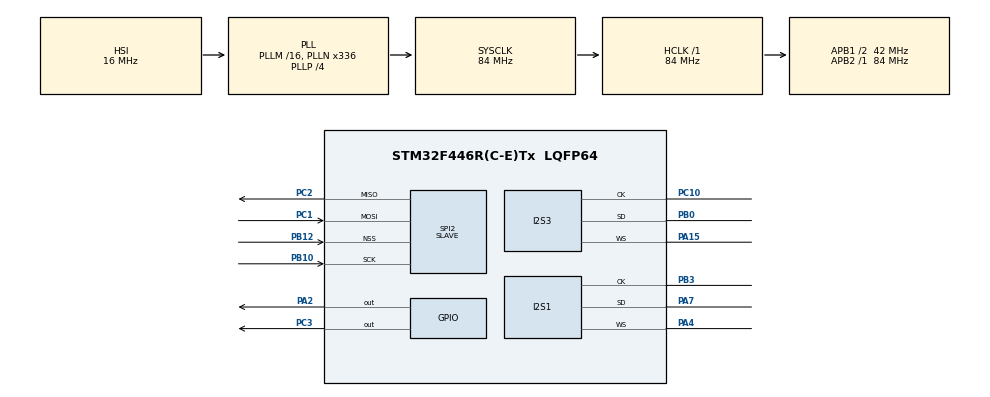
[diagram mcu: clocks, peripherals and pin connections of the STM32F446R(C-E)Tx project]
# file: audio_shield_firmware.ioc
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Dma.Request0=SPI3_RX
Dma.Request1=SPI1_RX
Dma.Request2=SPI2_RX
Dma.Request3=SPI2_TX
Dma.SPI1_RX.1.Direction=DMA_PERIPH_TO_MEMORY
Dma.SPI1_RX.1.FIFOMode=DMA_FIFOMODE_DISABLE
Dma.SPI1_RX.1.Instance=DMA2_Stream0
Dma.SPI1_RX.1.MemDataAlignment=DMA_MDATAALIGN_HALFWORD
Dma.SPI1_RX.1.MemInc=DMA_MINC_ENABLE
Dma.SPI1_RX.1.Mode=DMA_CIRCULAR
Dma.SPI1_RX.1.PeriphDataAlignment=DMA_PDATAALIGN_HALFWORD
Dma.SPI1_RX.1.PeriphInc=DMA_PINC_DISABLE
Dma.SPI1_RX.1.Priority=DMA_PRIORITY_LOW
Dma.SPI2_RX.2.Direction=DMA_PERIPH_TO_MEMORY
Dma.SPI2_RX.2.FIFOMode=DMA_FIFOMODE_DISABLE
Dma.SPI2_RX.2.Instance=DMA1_Stream3
Dma.SPI2_RX.2.MemDataAlignment=DMA_MDATAALIGN_BYTE
Dma.SPI2_RX.2.MemInc=DMA_MINC_ENABLE
Dma.SPI2_RX.2.Mode=DMA_CIRCULAR
Dma.SPI2_RX.2.PeriphDataAlignment=DMA_PDATAALIGN_BYTE
Dma.SPI2_RX.2.PeriphInc=DMA_PINC_DISABLE
Dma.SPI2_RX.2.Priority=DMA_PRIORITY_LOW
Dma.SPI2_TX.3.Direction=DMA_MEMORY_TO_PERIPH
Dma.SPI2_TX.3.FIFOMode=DMA_FIFOMODE_DISABLE
Dma.SPI2_TX.3.Instance=DMA1_Stream4
Dma.SPI2_TX.3.MemDataAlignment=DMA_MDATAALIGN_BYTE
Dma.SPI2_TX.3.MemInc=DMA_MINC_ENABLE
Dma.SPI2_TX.3.Mode=DMA_CIRCULAR
Dma.SPI2_TX.3.PeriphDataAlignment=DMA_PDATAALIGN_BYTE
Dma.SPI2_TX.3.PeriphInc=DMA_PINC_DISABLE
Dma.SPI2_TX.3.Priority=DMA_PRIORITY_LOW
Dma.SPI3_RX.0.Direction=DMA_PERIPH_TO_MEMORY
Dma.SPI3_RX.0.FIFOMode=DMA_FIFOMODE_DISABLE
Dma.SPI3_RX.0.Instance=DMA1_Stream0
Dma.SPI3_RX.0.MemDataAlignment=DMA_MDATAALIGN_HALFWORD
Dma.SPI3_RX.0.MemInc=DMA_MINC_ENABLE
Dma.SPI3_RX.0.Mode=DMA_CIRCULAR
Dma.SPI3_RX.0.PeriphDataAlignment=DMA_PDATAALIGN_HALFWORD
Dma.SPI3_RX.0.PeriphInc=DMA_PINC_DISABLE
Dma.SPI3_RX.0.Priority=DMA_PRIORITY_LOW
I2S1.AudioFreq=I2S_AUDIOFREQ_32K
I2S1.DataFormat=I2S_DATAFORMAT_16B_EXTENDED
I2S1.ErrorAudioFreq=-0.26 %
I2S1.FullDuplexMode=I2S_FULLDUPLEXMODE_DISABLE
I2S1.Instance=SPI$Index
I2S1.Mode=I2S_MODE_MASTER_RX
I2S1.RealAudioFreq=31.914 KHz
I2S1.VirtualMode=I2S_MODE_MASTER
I2S3.AudioFreq=I2S_AUDIOFREQ_32K
I2S3.DataFormat=I2S_DATAFORMAT_16B_EXTENDED
I2S3.ErrorAudioFreq=-0.26 %
I2S3.FullDuplexMode=I2S_FULLDUPLEXMODE_DISABLE
I2S3.Instance=SPI$Index
I2S3.Mode=I2S_MODE_MASTER_RX
I2S3.RealAudioFreq=31.914 KHz
I2S3.VirtualMode=I2S_MODE_MASTER
Mcu.Family=STM32F4
Mcu.Name=STM32F446R(C-E)Tx
Mcu.Package=LQFP64
NVIC.DMA1_Stream0_IRQn=true\:0\:0\:false\:false\:true\:false\:true
NVIC.DMA1_Stream3_IRQn=true\:0\:0\:false\:false\:true\:false\:true
NVIC.DMA1_Stream4_IRQn=true\:0\:0\:false\:false\:true\:false\:true
NVIC.DMA2_Stream0_IRQn=true\:0\:0\:false\:false\:true\:false\:true
NVIC.PriorityGroup=NVIC_PRIORITYGROUP_0
NVIC.SPI2_IRQn=true\:0\:0\:false\:false\:true\:true\:true
PA13.GPIO_Label=TMS
PA13.Mode=Serial_Wire
PA13.Signal=SYS_JTMS-SWDIO
PA14.GPIO_Label=TCK
PA14.Mode=Serial_Wire
PA14.Signal=SYS_JTCK-SWCLK
PA15.Mode=Half_Duplex_Master
PA15.Signal=I2S3_WS
PA2.Signal=GPIO_Output
PA4.Mode=Half_Duplex_Master
PA4.Signal=I2S1_WS
PA7.Mode=Half_Duplex_Master
PA7.Signal=I2S1_SD
PB0.Mode=Half_Duplex_Master
PB0.Signal=I2S3_SD
PB10.GPIO_PuPd=GPIO_NOPULL
PB10.Mode=Full_Duplex_Slave
PB10.Signal=SPI2_SCK
PB12.Mode=NSS_Signal_Hard_Input
PB12.Signal=SPI2_NSS
PB3.Mode=Half_Duplex_Master
PB3.Signal=I2S1_CK
PC1.GPIO_PuPd=GPIO_NOPULL
PC1.Mode=Full_Duplex_Slave
PC1.Signal=SPI2_MOSI
PC10.Mode=Half_Duplex_Master
PC10.Signal=I2S3_CK
PC14-OSC32_IN.Mode=LSE-External-Oscillator
PC14-OSC32_IN.Signal=RCC_OSC32_IN
PC15-OSC32_OUT.Mode=LSE-External-Oscillator
PC15-OSC32_OUT.Signal=RCC_OSC32_OUT
PC2.GPIO_PuPd=GPIO_NOPULL
PC2.Mode=Full_Duplex_Slave
PC2.Signal=SPI2_MISO
PC3.Signal=GPIO_Output
PH0-OSC_IN.Mode=HSE-External-Oscillator
PH0-OSC_IN.Signal=RCC_OSC_IN
PH1-OSC_OUT.Mode=HSE-External-Oscillator
PH1-OSC_OUT.Signal=RCC_OSC_OUT
ProjectManager.HeapSize=0x200
ProjectManager.StackSize=0x400
ProjectManager.TargetToolchain=STM32CubeIDE
RCC.48MHZClocksFreq_Value=84000000
RCC.AHBFreq_Value=84000000
RCC.APB1CLKDivider=RCC_HCLK_DIV2
RCC.APB1Freq_Value=42000000
RCC.APB1TimFreq_Value=84000000
RCC.APB2Freq_Value=84000000
RCC.APB2TimFreq_Value=84000000
RCC.CortexFreq_Value=84000000
RCC.FLatency-AdvancedSettings=FLASH_LATENCY_2
RCC.HCLKFreq_Value=84000000
RCC.HSE_VALUE=8000000
RCC.HSI_VALUE=16000000
RCC.PLLN=336
RCC.PLLP=RCC_PLLP_DIV4
RCC.SYSCLKFreq_VALUE=84000000
RCC.SYSCLKSource=RCC_SYSCLKSOURCE_PLLCLK
RCC.USBFreq_Value=168000000
RCC.VCOOutputFreq_Value=336000000
SPI2.DataSize=SPI_DATASIZE_8BIT
SPI2.Direction=SPI_DIRECTION_2LINES
SPI2.Mode=SPI_MODE_SLAVE
SPI2.VirtualNSS=VM_NSSHARD
SPI2.VirtualType=VM_SLAVE
TIM2.Period=0xFFFFFFFF
TIM2.Prescaler=84
TIM5.Period=0xffffffff
TIM5.Prescaler=84
VP_TIM2_VS_ClockSourceINT.Mode=Internal
VP_TIM5_VS_ClockSourceINT.Mode=Internal
board=NUCLEO-F446RE

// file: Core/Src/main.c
/* USER CODE BEGIN Header */
/**
 ******************************************************************************
 * @file           : main.c
 * @brief          : Main program body
 ******************************************************************************
 * @attention
 *
 * <h2><center>&copy; Copyright (c) 2020 STMicroelectronics.
 * All rights reserved.</center></h2>
 *
 * This software component is licensed by ST under BSD 3-Clause license,
 * the "License"; You may not use this file except in compliance with the
 * License. You may obtain a copy of the License at:
 *                        opensource.org/licenses/BSD-3-Clause
 *
 ******************************************************************************
 *
 * Microphone designations:
 *
 * for location: front is where sign points, looking from above
 * old     | main.c/ROS  | color  | location    | motor  |
 * =================================================
 * left_1  |    mic0     | blue   | front right | m1     |
 * left_3  |    mic1     | yellow | back right  | m2     |
 * right_1 |    mic2     | green  | front left  | m4     |
 * right_3 |    mic3     | red    | back left   | m3     |
 * =================================================
 *
 */
/* USER CODE END Header */
#include "main.h"

/* USER CODE BEGIN Includes */
#include "math.h"
#include "arm_const_structs.h"
#include "tapering_window.h"

/* USER CODE END Includes */

/* USER CODE BEGIN PTD */

#include <stdio.h>
#include <stdlib.h>
#include <assert.h>

/* USER CODE END PTD */

/* USER CODE BEGIN PD */

#define N_ACTUAL_SAMPLES (2048)//32
#define HALF_BUFFER_SIZE (N_ACTUAL_SAMPLES * 2) // left + right microphones
#define FULL_BUFFER_SIZE (2 * HALF_BUFFER_SIZE)

// constants
#define N_MOTORS 4 // number of motors
#define N_MIC 4 // number of microphones
#define MAXINT 65535 // max for int16 (2**15)
#define FLOAT_PRECISION 4 // float = 4 bytes
#define INT16_PRECISION 2 // int16 = 2 bytes

#define FFTSIZE N_ACTUAL_SAMPLES // size of FFT (effectively we will have half samples because of symmetry)
#define FFTSIZE_SENT 32 // number of frequency bins to select

// processing
#define N_PROP_FACTORS 30
#define DF (32000.0/FFTSIZE)
#define IIR_FILTERING
#define ALPHA 0.5

// cannot use both below flags at the same time
//#define USE_TEST_SIGNALS // set this to use test signals instead of real audio data. make sure SPI_N_BYTES MATCHES!
//#define DEBUG_SPI // set this define to use smaller, fixed buffers.

// communication
// in uint16, min_freq, max_freq, n_average, delta_freq, snr_enable, propeller_enable, tot = 6
#define PARAMS_N_INT16 (N_MOTORS + 6)
#define CHECKSUM_VALUE (0xAC)

#ifdef DEBUG_SPI
#define SPI_N_BYTES 1100
#else
#define AUDIO_N_BYTES (N_MIC * FFTSIZE_SENT * FLOAT_PRECISION * 2)
#define FBINS_N_BYTES (FFTSIZE_SENT * INT16_PRECISION)
#define SPI_N_BYTES (AUDIO_N_BYTES + FBINS_N_BYTES + 4 + 1) // + 4 for timestamp, + 1 for checksum
#endif

/* USER CODE END PD */

/* USER CODE BEGIN PM */

// Timing tool using TIM2 in counter mode with us timebase.
#define STOPCHRONO ({\
		time_us = __HAL_TIM_GET_COUNTER(&htim2);\
		HAL_TIM_Base_Stop(&htim2);\
		HAL_TIM_Base_Init(&htim2);\
		HAL_TIM_Base_Start(&htim2);\
})
/* USER CODE END PM */

I2S_HandleTypeDef hi2s1;
I2S_HandleTypeDef hi2s3;
DMA_HandleTypeDef hdma_spi1_rx;
DMA_HandleTypeDef hdma_spi3_rx;

SPI_HandleTypeDef hspi2;
DMA_HandleTypeDef hdma_spi2_rx;
DMA_HandleTypeDef hdma_spi2_tx;

TIM_HandleTypeDef htim2;
TIM_HandleTypeDef htim5;

/* USER CODE BEGIN PV */

// data vectors
int16_t dma_1[FULL_BUFFER_SIZE];
int16_t dma_3[FULL_BUFFER_SIZE];

#ifndef USE_TEST_SIGNALS
float mic0[N_ACTUAL_SAMPLES];
float mic2[N_ACTUAL_SAMPLES];
float mic1[N_ACTUAL_SAMPLES];
float mic3[N_ACTUAL_SAMPLES];
#else
//#include "real_data_1024.h"
#include "simulated_data_1024.h"
//#include "real_data_32.h"
#endif

float mic0_f[N_ACTUAL_SAMPLES]; // Complex type to feed rfft [real1,imag1, real2, imag2]
float mic2_f[N_ACTUAL_SAMPLES];
float mic1_f[N_ACTUAL_SAMPLES];
float mic3_f[N_ACTUAL_SAMPLES];

uint8_t spi_tx_buffer[SPI_N_BYTES];
uint8_t spi_rx_buffer[SPI_N_BYTES];

float amplitude_avg[N_ACTUAL_SAMPLES / 2];
uint16_t selected_indices[FFTSIZE_SENT];

// parameters
uint16_t param_array[PARAMS_N_INT16];
uint16_t filter_prop_enable = 1;
uint16_t filter_snr_enable = 1;
uint16_t min_freq = 0;
uint16_t max_freq = 0;
uint16_t delta_freq = 100;
uint16_t n_average = 1; // number of frequency bins to average.
uint16_t n_added = 0; // counter of how many samples were averaged.

// audio processing
uint32_t timestamp;
uint32_t ifft_flag = 0;
uint8_t flag_fft_processing = 0;
uint8_t new_sample_to_process = 0;
uint8_t init_stage_iir = 1;
float prop_freq;
arm_rfft_fast_instance_f32 rfft_instance;

// debugging
uint8_t retval = 0;
uint32_t counter_error = 0;
uint32_t counter_ok = 0;
volatile int32_t time_us;
volatile int32_t time_spi_error;
volatile int32_t time_spi_ok;

/* USER CODE END PV */

void SystemClock_Config(void);
static void MX_GPIO_Init(void);
static void MX_DMA_Init(void);
static void MX_I2S3_Init(void);
static void MX_TIM2_Init(void);
static void MX_I2S1_Init(void);
static void MX_SPI2_Init(void);
static void MX_TIM5_Init(void);
/* USER CODE BEGIN PFP */

struct index_amplitude {
	float amplitude;
	int index;
};

void process(int16_t *pIn, float *pOut1, float *pOut2, uint16_t size);
void frequency_bin_selection(uint16_t *selected_indices);
void fill_tx_buffer();
void read_rx_buffer();
int compare_amplitudes(const void *a, const void *b);
float abs_value_squared(float real_imag[]);
void uint32_to_byte_array(uint32_t input, uint8_t output[]);
void float_to_byte_array(float input, uint8_t output[]);

/* USER CODE END PFP */

/* USER CODE BEGIN 0 */

void HAL_I2S_RxHalfCpltCallback(I2S_HandleTypeDef *hi2s) {
#ifndef USE_TEST_SIGNALS
	if (hi2s->Instance == hi2s1.Instance) {
		process(dma_1, mic3, mic2, N_ACTUAL_SAMPLES);
	} else {
		process(dma_3, mic1, mic0, N_ACTUAL_SAMPLES);
	}
#endif
}

void HAL_I2S_RxCpltCallback(I2S_HandleTypeDef *hi2s) {
#ifndef USE_TEST_SIGNALS
	if (hi2s->Instance == hi2s1.Instance) {
		process(&dma_1[HALF_BUFFER_SIZE], mic3, mic2, N_ACTUAL_SAMPLES);
	} else {
		process(&dma_3[HALF_BUFFER_SIZE], mic1, mic0, N_ACTUAL_SAMPLES);
	}
#endif
}

void HAL_SPI_ErrorCallback(SPI_HandleTypeDef *hspi) {
	STOPCHRONO;
	time_spi_error = time_us;
	counter_error += 1;
}

void HAL_SPI_TxRxCpltCallback(SPI_HandleTypeDef *hspi) {
	if ((spi_rx_buffer[SPI_N_BYTES - 1] != CHECKSUM_VALUE)) {
		STOPCHRONO;
		time_spi_error = time_us;
		counter_error += 1;
	} else {
		STOPCHRONO;
		time_spi_ok = time_us;
		counter_ok += 1;
	}
	// Note that we do not need to restart the transmission by caling
	// HAL_SPI_TransmitReceive_DMA again, because the buffer is circular.
}

/* USER CODE END 0 */

int main(void)
{

  /* MCU Configuration--------------------------------------------------------*/

  /* Reset of all peripherals, Initializes the Flash interface and the Systick. */
  HAL_Init();

  /* Configure the system clock */
  SystemClock_Config();

  /* Initialize all configured peripherals */
  MX_GPIO_Init();
  MX_DMA_Init();
  MX_I2S3_Init();
  MX_TIM2_Init();
  MX_I2S1_Init();
  MX_SPI2_Init();
  MX_TIM5_Init();
  /* USER CODE BEGIN 2 */

    size_t length_tukey = sizeof(tukey_window)/sizeof(tukey_window[0]);
    assert(length_tukey == N_ACTUAL_SAMPLES);

	// Start DMAs
	HAL_I2S_Receive_DMA(&hi2s1, (uint16_t*) dma_1, FULL_BUFFER_SIZE);
	HAL_I2S_Receive_DMA(&hi2s3, (uint16_t*) dma_3, FULL_BUFFER_SIZE);

#ifdef DEBUG_SPI
	for (int j = 0; j < SPI_N_BYTES - 1; j++) {
		spi_tx_buffer[j] = j % 0xFF;
	}
	spi_tx_buffer[0] = 0xEF;
	spi_tx_buffer[SPI_N_BYTES - 1] = CHECKSUM_VALUE;
#endif

	memset(selected_indices, 0x00, sizeof(selected_indices));
	memset(amplitude_avg, 0x00, sizeof(amplitude_avg));

	HAL_TIM_Base_Init(&htim5);
	HAL_TIM_Base_Start(&htim5);
	timestamp = 0;

	// Super important! We need to wait until the bus is idle, otherwise
	// there is a random shift in the spi_rx_buffer and spi_tx_buffer.
	while (HAL_GPIO_ReadPin(GPIOB, GPIO_PIN_12) == GPIO_PIN_RESET) {};
	retval = HAL_SPI_TransmitReceive_DMA(&hspi2, spi_tx_buffer, spi_rx_buffer,
			SPI_N_BYTES);

  /* USER CODE END 2 */

  /* Infinite loop */
  /* USER CODE BEGIN WHILE */

	// Note that below while loop takes ca. 40ms (fft processing) + 10ms (bin selection and tx-buffer filling).
	while (1) {
    /* USER CODE END WHILE */

    /* USER CODE BEGIN 3 */

#ifdef USE_TEST_SIGNALS
		new_sample_to_process = 1;
#endif

		// we have a new sample to process and want to add it to the buffer
		if (new_sample_to_process) {
			flag_fft_processing = 1;
			timestamp = __HAL_TIM_GET_COUNTER(&htim5);

			// Compute FFT
			arm_rfft_fast_init_f32(&rfft_instance, FFTSIZE);
			arm_rfft_fast_f32(&rfft_instance, mic0, mic0_f, ifft_flag);
			arm_rfft_fast_init_f32(&rfft_instance, FFTSIZE);
			arm_rfft_fast_f32(&rfft_instance, mic1, mic1_f, ifft_flag);
			arm_rfft_fast_init_f32(&rfft_instance, FFTSIZE);
			arm_rfft_fast_f32(&rfft_instance, mic2, mic2_f, ifft_flag);
			arm_rfft_fast_init_f32(&rfft_instance, FFTSIZE);
			arm_rfft_fast_f32(&rfft_instance, mic3, mic3_f, ifft_flag);

			// Sum into AVG buffer
#ifndef IIR_FILTERING
			for (int i = 0; i < N_ACTUAL_SAMPLES / 2; i++) {
				if (n_added == 0) {
					amplitude_avg[i] = abs_value_squared(&mic0_f[i*2])
									 + abs_value_squared(&mic1_f[i*2])
									 + abs_value_squared(&mic2_f[i*2])
									 + abs_value_squared(&mic3_f[i*2]);
				}
				else {
					amplitude_avg[i] += abs_value_squared(&mic0_f[i*2])
									  + abs_value_squared(&mic1_f[i*2])
									  + abs_value_squared(&mic2_f[i*2])
									  + abs_value_squared(&mic3_f[i*2]);
				}
			}
			n_added += 1;
#else
			if (init_stage_iir) {
				for (int i = 0; i < N_ACTUAL_SAMPLES / 2; i++) {
					amplitude_avg[i] = abs_value_squared(&mic0_f[i * 2])
									 + abs_value_squared(&mic1_f[i * 2])
									 + abs_value_squared(&mic2_f[i * 2])
									 + abs_value_squared(&mic3_f[i * 2]);
				}
				init_stage_iir = 0;
			}
			else {
				for (int i = 0; i < N_ACTUAL_SAMPLES / 2; i++) {
					amplitude_avg[i] = (1 - ALPHA) * amplitude_avg[i]
							+ ALPHA * (abs_value_squared(&mic0_f[i * 2])
									 + abs_value_squared(&mic1_f[i * 2])
									 + abs_value_squared(&mic2_f[i * 2])
									 + abs_value_squared(&mic3_f[i * 2]));
				}
			}
#endif
			flag_fft_processing = 0;
			new_sample_to_process = 0;
		}

#ifndef IIR_FILTERING
		// We have reached the desired number of samples to average, so we fill the new tx_buffer
		// and then reset the average to zero.
		if (n_added == n_average) {
			frequency_bin_selection(selected_indices);
			// Reset Average buffer.
			n_added = 0;
		}
#else
		frequency_bin_selection(selected_indices);
#endif // IIR_FILTERING

#ifndef DEBUG_SPI
		fill_tx_buffer();
		read_rx_buffer();
#endif // DEBUG_SPI
	}
  /* USER CODE END 3 */
}

void SystemClock_Config(void)
{
  RCC_OscInitTypeDef RCC_OscInitStruct = {0};
  RCC_ClkInitTypeDef RCC_ClkInitStruct = {0};
  RCC_PeriphCLKInitTypeDef PeriphClkInitStruct = {0};

  /** Configure the main internal regulator output voltage
  */
  __HAL_RCC_PWR_CLK_ENABLE();
  __HAL_PWR_VOLTAGESCALING_CONFIG(PWR_REGULATOR_VOLTAGE_SCALE3);
  /** Initializes the RCC Oscillators according to the specified parameters
  * in the RCC_OscInitTypeDef structure.
  */
  RCC_OscInitStruct.OscillatorType = RCC_OSCILLATORTYPE_HSI;
  RCC_OscInitStruct.HSIState = RCC_HSI_ON;
  RCC_OscInitStruct.HSICalibrationValue = RCC_HSICALIBRATION_DEFAULT;
  RCC_OscInitStruct.PLL.PLLState = RCC_PLL_ON;
  RCC_OscInitStruct.PLL.PLLSource = RCC_PLLSOURCE_HSI;
  RCC_OscInitStruct.PLL.PLLM = 16;
  RCC_OscInitStruct.PLL.PLLN = 336;
  RCC_OscInitStruct.PLL.PLLP = RCC_PLLP_DIV4;
  RCC_OscInitStruct.PLL.PLLQ = 2;
  RCC_OscInitStruct.PLL.PLLR = 2;
  if (HAL_RCC_OscConfig(&RCC_OscInitStruct) != HAL_OK)
  {
    Error_Handler();
  }
  /** Initializes the CPU, AHB and APB buses clocks
  */
  RCC_ClkInitStruct.ClockType = RCC_CLOCKTYPE_HCLK|RCC_CLOCKTYPE_SYSCLK
                              |RCC_CLOCKTYPE_PCLK1|RCC_CLOCKTYPE_PCLK2;
  RCC_ClkInitStruct.SYSCLKSource = RCC_SYSCLKSOURCE_PLLCLK;
  RCC_ClkInitStruct.AHBCLKDivider = RCC_SYSCLK_DIV1;
  RCC_ClkInitStruct.APB1CLKDivider = RCC_HCLK_DIV2;
  RCC_ClkInitStruct.APB2CLKDivider = RCC_HCLK_DIV1;

  if (HAL_RCC_ClockConfig(&RCC_ClkInitStruct, FLASH_LATENCY_2) != HAL_OK)
  {
    Error_Handler();
  }
  PeriphClkInitStruct.PeriphClockSelection = RCC_PERIPHCLK_I2S_APB1|RCC_PERIPHCLK_I2S_APB2;
  PeriphClkInitStruct.PLLI2S.PLLI2SN = 192;
  PeriphClkInitStruct.PLLI2S.PLLI2SP = RCC_PLLI2SP_DIV2;
  PeriphClkInitStruct.PLLI2S.PLLI2SM = 16;
  PeriphClkInitStruct.PLLI2S.PLLI2SR = 2;
  PeriphClkInitStruct.PLLI2S.PLLI2SQ = 2;
  PeriphClkInitStruct.PLLI2SDivQ = 1;
  PeriphClkInitStruct.I2sApb2ClockSelection = RCC_I2SAPB2CLKSOURCE_PLLI2S;
  PeriphClkInitStruct.I2sApb1ClockSelection = RCC_I2SAPB1CLKSOURCE_PLLI2S;
  if (HAL_RCCEx_PeriphCLKConfig(&PeriphClkInitStruct) != HAL_OK)
  {
    Error_Handler();
  }
}

static void MX_I2S1_Init(void)
{

  hi2s1.Instance = SPI1;
  hi2s1.Init.Mode = I2S_MODE_MASTER_RX;
  hi2s1.Init.Standard = I2S_STANDARD_PHILIPS;
  hi2s1.Init.DataFormat = I2S_DATAFORMAT_16B_EXTENDED;
  hi2s1.Init.MCLKOutput = I2S_MCLKOUTPUT_DISABLE;
  hi2s1.Init.AudioFreq = I2S_AUDIOFREQ_32K;
  hi2s1.Init.CPOL = I2S_CPOL_LOW;
  hi2s1.Init.ClockSource = I2S_CLOCK_PLL;
  hi2s1.Init.FullDuplexMode = I2S_FULLDUPLEXMODE_DISABLE;
  if (HAL_I2S_Init(&hi2s1) != HAL_OK)
  {
    Error_Handler();
  }

}

static void MX_I2S3_Init(void)
{

  hi2s3.Instance = SPI3;
  hi2s3.Init.Mode = I2S_MODE_MASTER_RX;
  hi2s3.Init.Standard = I2S_STANDARD_PHILIPS;
  hi2s3.Init.DataFormat = I2S_DATAFORMAT_16B_EXTENDED;
  hi2s3.Init.MCLKOutput = I2S_MCLKOUTPUT_DISABLE;
  hi2s3.Init.AudioFreq = I2S_AUDIOFREQ_32K;
  hi2s3.Init.CPOL = I2S_CPOL_LOW;
  hi2s3.Init.ClockSource = I2S_CLOCK_PLL;
  hi2s3.Init.FullDuplexMode = I2S_FULLDUPLEXMODE_DISABLE;
  if (HAL_I2S_Init(&hi2s3) != HAL_OK)
  {
    Error_Handler();
  }

}

static void MX_SPI2_Init(void)
{

  /* SPI2 parameter configuration*/
  hspi2.Instance = SPI2;
  hspi2.Init.Mode = SPI_MODE_SLAVE;
  hspi2.Init.Direction = SPI_DIRECTION_2LINES;
  hspi2.Init.DataSize = SPI_DATASIZE_8BIT;
  hspi2.Init.CLKPolarity = SPI_POLARITY_LOW;
  hspi2.Init.CLKPhase = SPI_PHASE_1EDGE;
  hspi2.Init.NSS = SPI_NSS_HARD_INPUT;
  hspi2.Init.FirstBit = SPI_FIRSTBIT_MSB;
  hspi2.Init.TIMode = SPI_TIMODE_DISABLE;
  hspi2.Init.CRCCalculation = SPI_CRCCALCULATION_DISABLE;
  hspi2.Init.CRCPolynomial = 10;
  if (HAL_SPI_Init(&hspi2) != HAL_OK)
  {
    Error_Handler();
  }

}

static void MX_TIM2_Init(void)
{

  TIM_ClockConfigTypeDef sClockSourceConfig = {0};
  TIM_MasterConfigTypeDef sMasterConfig = {0};

  htim2.Instance = TIM2;
  htim2.Init.Prescaler = 84;
  htim2.Init.CounterMode = TIM_COUNTERMODE_UP;
  htim2.Init.Period = 0xFFFFFFFF;
  htim2.Init.ClockDivision = TIM_CLOCKDIVISION_DIV1;
  htim2.Init.AutoReloadPreload = TIM_AUTORELOAD_PRELOAD_DISABLE;
  if (HAL_TIM_Base_Init(&htim2) != HAL_OK)
  {
    Error_Handler();
  }
  sClockSourceConfig.ClockSource = TIM_CLOCKSOURCE_INTERNAL;
  if (HAL_TIM_ConfigClockSource(&htim2, &sClockSourceConfig) != HAL_OK)
  {
    Error_Handler();
  }
  sMasterConfig.MasterOutputTrigger = TIM_TRGO_RESET;
  sMasterConfig.MasterSlaveMode = TIM_MASTERSLAVEMODE_DISABLE;
  if (HAL_TIMEx_MasterConfigSynchronization(&htim2, &sMasterConfig) != HAL_OK)
  {
    Error_Handler();
  }

}

static void MX_TIM5_Init(void)
{

  TIM_ClockConfigTypeDef sClockSourceConfig = {0};
  TIM_MasterConfigTypeDef sMasterConfig = {0};

  htim5.Instance = TIM5;
  htim5.Init.Prescaler = 84;
  htim5.Init.CounterMode = TIM_COUNTERMODE_UP;
  htim5.Init.Period = 0xffffffff;
  htim5.Init.ClockDivision = TIM_CLOCKDIVISION_DIV1;
  htim5.Init.AutoReloadPreload = TIM_AUTORELOAD_PRELOAD_DISABLE;
  if (HAL_TIM_Base_Init(&htim5) != HAL_OK)
  {
    Error_Handler();
  }
  sClockSourceConfig.ClockSource = TIM_CLOCKSOURCE_INTERNAL;
  if (HAL_TIM_ConfigClockSource(&htim5, &sClockSourceConfig) != HAL_OK)
  {
    Error_Handler();
  }
  sMasterConfig.MasterOutputTrigger = TIM_TRGO_RESET;
  sMasterConfig.MasterSlaveMode = TIM_MASTERSLAVEMODE_DISABLE;
  if (HAL_TIMEx_MasterConfigSynchronization(&htim5, &sMasterConfig) != HAL_OK)
  {
    Error_Handler();
  }

}

static void MX_DMA_Init(void)
{

  /* DMA controller clock enable */
  __HAL_RCC_DMA1_CLK_ENABLE();
  __HAL_RCC_DMA2_CLK_ENABLE();

  /* DMA interrupt init */
  /* DMA1_Stream0_IRQn interrupt configuration */
  HAL_NVIC_SetPriority(DMA1_Stream0_IRQn, 0, 0);
  HAL_NVIC_EnableIRQ(DMA1_Stream0_IRQn);
  /* DMA1_Stream3_IRQn interrupt configuration */
  HAL_NVIC_SetPriority(DMA1_Stream3_IRQn, 0, 0);
  HAL_NVIC_EnableIRQ(DMA1_Stream3_IRQn);
  /* DMA1_Stream4_IRQn interrupt configuration */
  HAL_NVIC_SetPriority(DMA1_Stream4_IRQn, 0, 0);
  HAL_NVIC_EnableIRQ(DMA1_Stream4_IRQn);
  /* DMA2_Stream0_IRQn interrupt configuration */
  HAL_NVIC_SetPriority(DMA2_Stream0_IRQn, 0, 0);
  HAL_NVIC_EnableIRQ(DMA2_Stream0_IRQn);

}

static void MX_GPIO_Init(void)
{
  GPIO_InitTypeDef GPIO_InitStruct = {0};

  /* GPIO Ports Clock Enable */
  __HAL_RCC_GPIOC_CLK_ENABLE();
  __HAL_RCC_GPIOH_CLK_ENABLE();
  __HAL_RCC_GPIOA_CLK_ENABLE();
  __HAL_RCC_GPIOB_CLK_ENABLE();

  /*Configure GPIO pin Output Level */
  HAL_GPIO_WritePin(GPIOC, GPIO_PIN_3, GPIO_PIN_RESET);

  /*Configure GPIO pin Output Level */
  HAL_GPIO_WritePin(GPIOA, GPIO_PIN_2, GPIO_PIN_RESET);

  /*Configure GPIO pin : PC3 */
  GPIO_InitStruct.Pin = GPIO_PIN_3;
  GPIO_InitStruct.Mode = GPIO_MODE_OUTPUT_PP;
  GPIO_InitStruct.Pull = GPIO_NOPULL;
  GPIO_InitStruct.Speed = GPIO_SPEED_FREQ_LOW;
  HAL_GPIO_Init(GPIOC, &GPIO_InitStruct);

  /*Configure GPIO pin : PA2 */
  GPIO_InitStruct.Pin = GPIO_PIN_2;
  GPIO_InitStruct.Mode = GPIO_MODE_OUTPUT_PP;
  GPIO_InitStruct.Pull = GPIO_NOPULL;
  GPIO_InitStruct.Speed = GPIO_SPEED_FREQ_LOW;
  HAL_GPIO_Init(GPIOA, &GPIO_InitStruct);

}

/* USER CODE BEGIN 4 */
void inline process(int16_t *pIn, float *pOut1, float *pOut2, uint16_t size) {

	// size is N_ACTUAL_SAMPLES.
	// pIn is of size 2 * N_ACTUAL_SAMPLES, because we have left and right mic.
	// each pOut is of size N_ACTUAL_SAMPLES.

	// Do not interrupt FFT processing.
	if (flag_fft_processing == 0) {
		for (uint16_t i = 0; i < size; i += 1) {
			*pOut1++ = (float) *pIn++ / (float) MAXINT * tukey_window[i];
			*pOut2++ = (float) *pIn++ / (float) MAXINT * tukey_window[i];
		}
		new_sample_to_process = 1;
	}

#if 0
	/* process the data through the CFFT/CIFFT module */
	arm_cfft_f32(&arm_cfft_sR_f32_len1024, mic0, ifft_flag, do_bit_reverse);

	/* process the data through the Complex Magnitude Module for
	 calculating the magnitude at each bin */
	arm_cmplx_mag_f32(mic0, test_output, FFTSIZE);

	/* Calculates max_value and returns corresponding BIN value */
	arm_max_f32(test_output, FFTSIZE, &max_value, &test_index);
#endif
}

void frequency_bin_selection(uint16_t *selected_indices) {

	// This happens in the beginning only, afterwards it only happens if there
	// was faulty communication between the Crazyflie and Audio deck.
	if (min_freq >= max_freq) {
		return;
	}

	float const prop_factors[N_PROP_FACTORS] = { 0.5, 1, 1.5, 2, 3, 4, 5, 6, 7,
			8, 9, 10, 11, 12, 13, 14, 15, 16, 17, 18, 19, 20, 21, 22, 23, 24,
			25, 26, 27, 28 };

	// TODO(FD): for the moment we just use the average thrust here. We could
	// also loop through all propeller frequencies and not use any of them,
	// that would be more appropriate if the thrust values vary a lot between motors.
	if (filter_prop_enable) {
		float average_thrust = 0;
		for (int i = 0; i < N_MOTORS; i++) {
			average_thrust += (float) param_array[i] / N_MOTORS;
		}
		prop_freq = 3.27258551 * sqrt(average_thrust) - 26.41814899;
	}

	int min_freq_idx = (int) min_freq / DF;
	int max_freq_idx = (int) max_freq / DF;

	// Will only be partially filled. Could implement this with
	// a dynamic list if it is necessary in terms of memory.
	uint16_t potential_indices[FFTSIZE];
	uint16_t potential_count = 0;

	// Fill bin candidates with the available ones, after removing propeller frequencies.
	uint8_t min_fac = 0;
	for (uint16_t i = min_freq_idx; i < max_freq_idx; i++) {
		uint8_t use_this = 1;
		if (filter_prop_enable) {
			for (uint8_t j = min_fac; j < N_PROP_FACTORS; j++) {
				if (fabs(((i * DF) - (prop_factors[j] * prop_freq)))
						< delta_freq) {
					use_this = 0;

					// For the next potential bins we only need
					// to check starting from here, because they are increasing.
					min_fac = j;
					break;
				}
			}
		}
		if (use_this) {
			potential_indices[potential_count] = i;
			potential_count++;
		}
	}

	// if we have less candidates than required, we simply send all candidates
	if (potential_count <= FFTSIZE_SENT) {
		if (!filter_snr_enable) {
			memcpy(selected_indices, potential_indices, potential_count * INT16_PRECISION);
		}
		// we still do the sorting for consistency (for instance, if down the line
		// we rely on the first index to be the strongest)
		else {
			struct index_amplitude sort_this[potential_count];
			for (int i = 0; i < potential_count; i++) {
				sort_this[i].amplitude = amplitude_avg[potential_indices[i]];
				sort_this[i].index = potential_indices[i];
			}
			qsort(sort_this, potential_count, sizeof(sort_this[0]), compare_amplitudes);
			for (int i = 0; i < potential_count; i++) {
				selected_indices[i] = sort_this[i].index;
			}
		}

		// fill the remaining indices with zeroes
		memset(&selected_indices[potential_count], 0x00, INT16_PRECISION * (FFTSIZE_SENT - potential_count));
		return;
	}

	if (!filter_snr_enable) {
		// Samples uniformly among remaining candidates.
		float decimation = (float) potential_count / FFTSIZE_SENT;
		for (int i = 0; i < FFTSIZE_SENT; i++) {
			selected_indices[i] =
					potential_indices[(int) round(i * decimation)];
		}
	} else {
		struct index_amplitude sort_this[potential_count];

		for (int i = 0; i < potential_count; i++) {
			sort_this[i].amplitude = amplitude_avg[potential_indices[i]];
			sort_this[i].index = potential_indices[i];
		}

		qsort(sort_this, potential_count, sizeof(sort_this[0]),
				compare_amplitudes);
		for (int i = 0; i < FFTSIZE_SENT; i++) {
			selected_indices[i] = sort_this[i].index;
		}
	}
}

void fill_tx_buffer() {
	// Fill with FFT content
	// The spi_tx_buffer will be filled like
	// [m1_real[0], m2_real[0], m3_real[0], m4_real[0], m1_imag[0], m2_imag[0], m3_imag[0], m4_imag[0],
	//  m1_real[1], m2_real[1], m3_real[1], m4_real[1], m1_imag[1], m2_imag[1], m3_imag[1], m4_imag[1],
	//  ...
	//  m1_real[N], m2_real[N], m3_real[N], m4_real[N], m1_imag[N], m2_imag[N], m3_imag[N], m4_imag[N]]
	//  where N is FFTSIZE_SENT-1

	uint16_t i_array = 0;
	for (int i_fbin = 0; i_fbin < FFTSIZE_SENT; i_fbin++) {
		float_to_byte_array(mic0_f[2 * selected_indices[i_fbin]],
				&spi_tx_buffer[i_array]);
		i_array += 4;
		float_to_byte_array(mic1_f[2 * selected_indices[i_fbin]],
				&spi_tx_buffer[i_array]);
		i_array += 4;
		float_to_byte_array(mic2_f[2 * selected_indices[i_fbin]],
				&spi_tx_buffer[i_array]);
		i_array += 4;
		float_to_byte_array(mic3_f[2 * selected_indices[i_fbin]],
				&spi_tx_buffer[i_array]);
		i_array += 4;
		float_to_byte_array(mic0_f[2 * selected_indices[i_fbin] + 1],
				&spi_tx_buffer[i_array]);
		i_array += 4;
		float_to_byte_array(mic1_f[2 * selected_indices[i_fbin] + 1],
				&spi_tx_buffer[i_array]);
		i_array += 4;
		float_to_byte_array(mic2_f[2 * selected_indices[i_fbin] + 1],
				&spi_tx_buffer[i_array]);
		i_array += 4;
		float_to_byte_array(mic3_f[2 * selected_indices[i_fbin] + 1],
				&spi_tx_buffer[i_array]);
		i_array += 4;
	}

	// Fill with bins indices
	memcpy(&spi_tx_buffer[i_array], selected_indices, sizeof(selected_indices));
	i_array += sizeof(selected_indices);

	// Fill with timestamp
	uint32_to_byte_array(timestamp, &spi_tx_buffer[i_array]);
	i_array += sizeof(timestamp);

	assert(i_array == SPI_N_BYTES - 1);
	spi_tx_buffer[SPI_N_BYTES - 1] = CHECKSUM_VALUE;
}

void read_rx_buffer() {
	memcpy(param_array, spi_rx_buffer, sizeof(param_array));

	// Sometimes, because of faulty communication, the packet is broken and we get
	// impossible values for the parameters. In that case they should not be updated.
	if ((param_array[N_MOTORS] == 0)
			|| (param_array[N_MOTORS] >= param_array[N_MOTORS + 1]))
		return;

	min_freq = param_array[N_MOTORS];
	max_freq = param_array[N_MOTORS + 1];
	delta_freq = param_array[N_MOTORS + 2];
	n_average = param_array[N_MOTORS + 3];
	filter_prop_enable = param_array[N_MOTORS + 4];
	filter_snr_enable = param_array[N_MOTORS + 5];
}

int compare_amplitudes(const void *a, const void *b) {
	struct index_amplitude *a1 = (struct index_amplitude*) a;
	struct index_amplitude *a2 = (struct index_amplitude*) b;
	if ((*a1).amplitude > (*a2).amplitude)
		return -1;
	else if ((*a1).amplitude < (*a2).amplitude)
		return 1;
	else
		return 0;
}

// Wrong absolute value but should work faster without sqrt.
float abs_value_squared(float real_imag[]) {
	return (real_imag[0] * real_imag[0] + real_imag[1] * real_imag[1]);
}

void float_to_byte_array(float input, uint8_t output[]) {
	uint32_t temp = *((uint32_t*) &input);
	uint32_to_byte_array(temp, output);
}

void uint32_to_byte_array(uint32_t input, uint8_t output[]) {
	memcpy(output, &input, sizeof(input));
}

/* USER CODE END 4 */

void Error_Handler(void)
{
}

/************************ (C) COPYRIGHT STMicroelectronics *****END OF FILE****/
